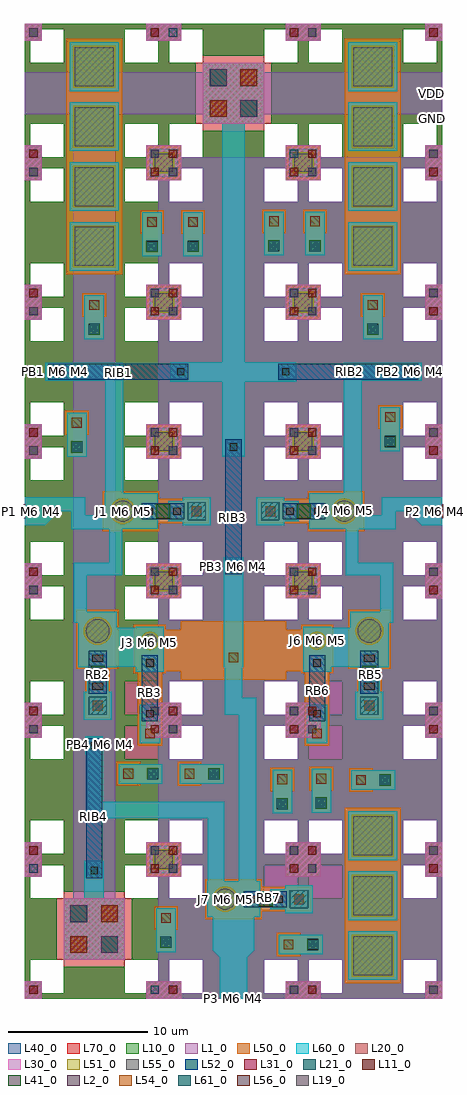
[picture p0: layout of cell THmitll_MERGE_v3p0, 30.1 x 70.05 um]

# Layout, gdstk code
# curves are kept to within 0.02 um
from math import pi, radians
import gdstk
lib = gdstk.Library(unit=1e-6, precision=1e-09)
def R(c, l, rs):  # rectangles x0, y0, x1, y1
    for r in rs: c.add(gdstk.rectangle(r[:2], r[2:], *l))
def A(c, l, x, y, w, h, nx, ny, dx, dy):  # array of equal rectangles
    R(c, l, [(x+i*dx, y+j*dy, x+i*dx+w, y+j*dy+h) for i in range(nx) for j in range(ny)])
def P(c, l, *ps):  # polygons
    for p in ps: c.add(gdstk.Polygon(p, *l))
L1_0 = (1, 0)
L2_0 = (2, 0)
L10_0 = (10, 0)
L11_0 = (11, 0)
L19_0 = (19, 0)
L20_0 = (20, 0)
L21_0 = (21, 0)
L30_0 = (30, 0)
L31_0 = (31, 0)
L40_0 = (40, 0)
L41_0 = (41, 0)
L50_0 = (50, 0)
L51_0 = (51, 0)
L52_0 = (52, 0)
L54_0 = (54, 0)
L55_0 = (55, 0)
L56_0 = (56, 0)
L60_0 = (60, 0)
L61_0 = (61, 0)
L70_0 = (70, 0)

ls_tr_m7_1 = lib.new_cell('ls_tr_M7$1')
P(ls_tr_m7_1, L70_0, [(0,0),(0,10),(1.25,10),(1.25,8.75),(0.4,8.75),(0.4,1.25),(1.25,1.25),(1.25,0.4),(2.8,0.4),(2.8,2.8),(0.4,2.8),(0.4,7.2),(2.8,7.2),(2.8,9.6),(1.25,9.6),(1.25,10),(7.2,10),(7.2,0.4),(8.75,0.4),(8.75,1.25),(9.6,1.25),(9.6,2.8),(7.2,2.8),(7.2,7.2),(9.6,7.2),(9.6,8.75),(8.75,8.75),(8.75,9.6),(7.2,9.6),(7.2,10),(10,10),(10,0)])

ls_tr_u_m4_nptl = lib.new_cell('ls_tr_u_M4_NPTL')
P(ls_tr_u_m4_nptl, L1_0, [(0,0),(0,10),(1.25,10),(1.25,8.75),(0.4,8.75),(0.4,1.25),(1.25,1.25),(1.25,0.4),(2.8,0.4),(2.8,2.8),(0.4,2.8),(0.4,7.2),(2.8,7.2),(2.8,9.6),(1.25,9.6),(1.25,10),(7.2,10),(7.2,0.4),(8.75,0.4),(8.75,1.25),(9.6,1.25),(9.6,2.8),(7.2,2.8),(7.2,7.2),(9.6,7.2),(9.6,8.75),(8.75,8.75),(8.75,9.6),(7.2,9.6),(7.2,10),(10,10),(10,0)])
R(ls_tr_u_m4_nptl, L2_0, [(9.05,0.35,9.65,0.95), (0.35,9.05,0.95,9.65)])
R(ls_tr_u_m4_nptl, L10_0, [(0,0,1.25,1.25), (8.75,0,10,1.25), (0,8.75,1.25,10), (8.75,8.75,10,10)])
P(ls_tr_u_m4_nptl, L10_0, [(1.25,0),(1.25,0.4),(2.8,0.4),(2.8,2.8),(0.4,2.8),(0.4,1.25),(0,1.25),(0,8.75),(0.4,8.75),(0.4,7.2),(2.8,7.2),(2.8,9.6),(1.25,9.6),(1.25,10),(8.75,10),(8.75,9.6),(7.2,9.6),(7.2,7.2),(9.6,7.2),(9.6,8.75),(10,8.75),(10,1.25),(9.6,1.25),(9.6,2.8),(7.2,2.8),(7.2,0.4),(8.75,0.4),(8.75,0)])
R(ls_tr_u_m4_nptl, L11_0, [(0.35,0.35,0.95,0.95), (9.05,9.05,9.65,9.65)])
R(ls_tr_u_m4_nptl, L20_0, [(0,0,1.25,1.25), (8.75,0,10,1.25), (0,8.75,1.25,10), (8.75,8.75,10,10)])
R(ls_tr_u_m4_nptl, L21_0, [(9.05,0.35,9.65,0.95), (0.35,9.05,0.95,9.65)])
R(ls_tr_u_m4_nptl, L30_0, [(0,0,1.25,1.25), (8.75,0,10,1.25), (0,8.75,1.25,10), (8.75,8.75,10,10)])
R(ls_tr_u_m4_nptl, L31_0, [(0.35,0.35,0.95,0.95), (9.05,9.05,9.65,9.65)])
P(ls_tr_u_m4_nptl, L40_0, [(0,0),(0,10),(1.25,10),(1.25,8.75),(0.4,8.75),(0.4,1.25),(1.25,1.25),(1.25,0.4),(2.8,0.4),(2.8,2.8),(0.4,2.8),(0.4,7.2),(2.8,7.2),(2.8,9.6),(1.25,9.6),(1.25,10),(7.2,10),(7.2,0.4),(8.75,0.4),(8.75,1.25),(9.6,1.25),(9.6,2.8),(7.2,2.8),(7.2,7.2),(9.6,7.2),(9.6,8.75),(8.75,8.75),(8.75,9.6),(7.2,9.6),(7.2,10),(10,10),(10,0)])
ls_tr_u_m4_nptl.add(gdstk.Reference(ls_tr_m7_1, (0,0)))

ls_tr_m7 = lib.new_cell('ls_tr_M7')
P(ls_tr_m7, L70_0, [(0,0),(0,10),(1.25,10),(1.25,8.75),(0.4,8.75),(0.4,1.25),(1.25,1.25),(1.25,0.4),(2.8,0.4),(2.8,2.8),(0.4,2.8),(0.4,7.2),(2.8,7.2),(2.8,9.6),(1.25,9.6),(1.25,10),(7.2,10),(7.2,0.4),(8.75,0.4),(8.75,1.25),(9.6,1.25),(9.6,2.8),(7.2,2.8),(7.2,7.2),(9.6,7.2),(9.6,8.75),(8.75,8.75),(8.75,9.6),(7.2,9.6),(7.2,10),(10,10),(10,0)])

ls_tr_u_m4_alt = lib.new_cell('ls_tr_u_M4_alt')
R(ls_tr_u_m4_alt, L1_0, [(0,0,1.25,1.25), (8.75,0,10,1.25), (0,8.75,1.25,10), (8.75,8.75,10,10)])
R(ls_tr_u_m4_alt, L2_0, [(9.05,0.35,9.65,0.95), (0.35,9.05,0.95,9.65)])
R(ls_tr_u_m4_alt, L10_0, [(0,0,1.25,1.25), (1.25,0,8.75,0.4), (8.75,0,10,1.25), (2.8,0.4,7.2,9.6), (0,1.25,0.4,8.75), (9.6,1.25,10,8.75), (0.4,2.8,2.8,7.2), (7.2,2.8,9.6,7.2), (0,8.75,1.25,10), (8.75,8.75,10,10), (1.25,9.6,8.75,10)])
R(ls_tr_u_m4_alt, L11_0, [(0.35,0.35,0.95,0.95), (9.05,9.05,9.65,9.65)])
R(ls_tr_u_m4_alt, L20_0, [(0,0,1.25,1.25), (8.75,0,10,1.25), (0,8.75,1.25,10), (8.75,8.75,10,10)])
R(ls_tr_u_m4_alt, L21_0, [(9.05,0.35,9.65,0.95), (0.35,9.05,0.95,9.65)])
R(ls_tr_u_m4_alt, L30_0, [(0,0,1.25,1.25), (8.75,0,10,1.25), (0,8.75,1.25,10), (8.75,8.75,10,10)])
R(ls_tr_u_m4_alt, L31_0, [(0.35,0.35,0.95,0.95), (9.05,9.05,9.65,9.65)])
P(ls_tr_u_m4_alt, L40_0, [(0,0),(0,10),(1.25,10),(1.25,8.75),(0.4,8.75),(0.4,1.25),(1.25,1.25),(1.25,0.4),(2.8,0.4),(2.8,2.8),(0.4,2.8),(0.4,7.2),(2.8,7.2),(2.8,9.6),(1.25,9.6),(1.25,10),(7.2,10),(7.2,0.4),(8.75,0.4),(8.75,1.25),(9.6,1.25),(9.6,2.8),(7.2,2.8),(7.2,7.2),(9.6,7.2),(9.6,8.75),(8.75,8.75),(8.75,9.6),(7.2,9.6),(7.2,10),(10,10),(10,0)])
ls_tr_u_m4_alt.add(gdstk.Reference(ls_tr_m7, (0,0)))

ls_tr_bias_pillar_m0m6 = lib.new_cell('ls_tr_bias_pillar_M0M6')
R(ls_tr_bias_pillar_m0m6, L1_0, [(0,0,1.25,1.25), (8.75,0,10,1.25), (2.8,2.8,7.2,7.2), (0,8.75,1.25,10), (8.75,8.75,10,10)])
R(ls_tr_bias_pillar_m0m6, L2_0, [(5.5,3.3,6.7,4.5), (3.3,5.5,4.5,6.7)])
R(ls_tr_bias_pillar_m0m6, L10_0, [(0,0,1.25,1.25), (8.75,0,10,1.25), (2.8,2.8,7.2,7.2), (0,8.75,1.25,10), (8.75,8.75,10,10)])
P(ls_tr_bias_pillar_m0m6, L10_0, [(0,0),(0,10),(7.2,10),(7.2,7.7),(2.8,7.7),(2.8,9.6),(1.25,9.6),(1.25,8.75),(0.4,8.75),(0.4,7.2),(2.3,7.2),(2.3,2.8),(0.4,2.8),(0.4,1.25),(1.25,1.25),(1.25,0.4),(2.8,0.4),(2.8,2.3),(7.2,2.3),(7.2,0.4),(8.75,0.4),(8.75,1.25),(9.6,1.25),(9.6,2.8),(7.7,2.8),(7.7,7.2),(9.6,7.2),(9.6,8.75),(8.75,8.75),(8.75,9.6),(7.2,9.6),(7.2,10),(10,10),(10,0)])
R(ls_tr_bias_pillar_m0m6, L11_0, [(0.35,0.35,0.95,0.95), (3.3,3.3,4.5,4.5), (5.5,5.5,6.7,6.7), (9.05,9.05,9.65,9.65)])
R(ls_tr_bias_pillar_m0m6, L20_0, [(0,0,1.25,1.25), (8.75,0,10,1.25), (2.8,2.8,7.2,7.2), (0,8.75,1.25,10), (8.75,8.75,10,10)])
R(ls_tr_bias_pillar_m0m6, L21_0, [(9.05,0.35,9.65,0.95), (5.5,3.3,6.7,4.5), (3.3,5.5,4.5,6.7), (0.35,9.05,0.95,9.65)])
R(ls_tr_bias_pillar_m0m6, L30_0, [(0,0,1.25,1.25), (8.75,0,10,1.25), (2.8,2.8,7.2,7.2), (0,8.75,1.25,10), (8.75,8.75,10,10)])
R(ls_tr_bias_pillar_m0m6, L31_0, [(0.35,0.35,0.95,0.95), (3.3,3.3,4.5,4.5), (5.5,5.5,6.7,6.7), (9.05,9.05,9.65,9.65)])
R(ls_tr_bias_pillar_m0m6, L40_0, [(2.8,2.8,7.2,7.2)])
P(ls_tr_bias_pillar_m0m6, L40_0, [(0,0),(0,10),(7.2,10),(7.2,7.7),(2.8,7.7),(2.8,9.6),(1.25,9.6),(1.25,8.75),(0.4,8.75),(0.4,7.2),(2.3,7.2),(2.3,2.8),(0.4,2.8),(0.4,1.25),(1.25,1.25),(1.25,0.4),(2.8,0.4),(2.8,2.3),(7.2,2.3),(7.2,0.4),(8.75,0.4),(8.75,1.25),(9.6,1.25),(9.6,2.8),(7.7,2.8),(7.7,7.2),(9.6,7.2),(9.6,8.75),(8.75,8.75),(8.75,9.6),(7.2,9.6),(7.2,10),(10,10),(10,0)])
R(ls_tr_bias_pillar_m0m6, L41_0, [(5.5,3.3,6.7,4.5), (3.3,5.5,4.5,6.7)])
R(ls_tr_bias_pillar_m0m6, L50_0, [(2.8,2.8,7.2,7.2)])
R(ls_tr_bias_pillar_m0m6, L54_0, [(3.3,3.3,4.5,4.5), (5.5,5.5,6.7,6.7)])
R(ls_tr_bias_pillar_m0m6, L60_0, [(2.8,2.8,7.2,7.2)])
P(ls_tr_bias_pillar_m0m6, L70_0, [(0,0),(0,10),(1.25,10),(1.25,8.75),(0.4,8.75),(0.4,1.25),(1.25,1.25),(1.25,0.4),(2.8,0.4),(2.8,2.8),(0.4,2.8),(0.4,7.2),(2.8,7.2),(2.8,9.6),(1.25,9.6),(1.25,10),(7.2,10),(7.2,0.4),(8.75,0.4),(8.75,1.25),(9.6,1.25),(9.6,2.8),(7.2,2.8),(7.2,7.2),(9.6,7.2),(9.6,8.75),(8.75,8.75),(8.75,9.6),(7.2,9.6),(7.2,10),(10,10),(10,0)])

ls_conn_m5m6m7 = lib.new_cell('ls_conn_M5M6M7')
R(ls_conn_m5m6m7, L60_0, [(-0.65,-0.65,1.35,1.35)])
R(ls_conn_m5m6m7, L61_0, [(-0.3,-0.3,1,1)])
R(ls_conn_m5m6m7, L70_0, [(-0.65,-0.65,1.35,1.35)])

th_jj_250_sg = lib.new_cell('th_jj_250_sg')
R(th_jj_250_sg, L41_0, [(-0.5,2.4,0.5,3.4)])
R(th_jj_250_sg, L50_0, [(-1.425,-1.425,1.425,2.625), (-0.875,2.625,0.875,6.175)])
P(th_jj_250_sg, L51_0, [(0,-0.91),(-0.18,-0.895),(-0.35,-0.84),(-0.645,-0.645),(-0.84,-0.35),(-0.91,0),(-0.895,0.18),(-0.84,0.35),(-0.645,0.645),(-0.35,0.84),(-0.18,0.895),(0,0.91),(0.18,0.895),(0.35,0.84),(0.645,0.645),(0.84,0.35),(0.895,0.18),(0.91,0),(0.84,-0.35),(0.645,-0.645),(0.35,-0.84),(0.18,-0.895)])
R(th_jj_250_sg, L52_0, [(-0.575,1.35,0.575,4.425)])
R(th_jj_250_sg, L54_0, [(-0.35,4.95,0.35,5.65)])
P(th_jj_250_sg, L55_0, [(0,-0.76),(-0.15,-0.75),(-0.29,-0.7),(-0.54,-0.54),(-0.7,-0.29),(-0.75,-0.15),(-0.76,0),(-0.75,0.15),(-0.7,0.29),(-0.54,0.54),(-0.29,0.7),(-0.15,0.75),(0,0.76),(0.15,0.75),(0.29,0.7),(0.54,0.54),(0.7,0.29),(0.75,0.15),(0.76,0),(0.75,-0.15),(0.7,-0.29),(0.54,-0.54),(0.29,-0.7),(0.15,-0.75)])
R(th_jj_250_sg, L56_0, [(-0.26,1.64,0.26,2.16), (-0.26,3.63,0.26,4.15)])
R(th_jj_250_sg, L60_0, [(-1.275,-1.275,1.275,2.525), (-0.725,3.25,0.725,6.025)])
th_jj_250_sg.add(gdstk.Reference(ls_conn_m5m6m7, (0.35,5.65), rotation=pi))

th_jj_301_sg = lib.new_cell('th_jj_301_sg')
R(th_jj_301_sg, L41_0, [(-0.5,2.5,0.5,3.5)])
R(th_jj_301_sg, L50_0, [(-1.525,-1.525,1.525,2.7), (-0.875,2.7,0.875,6.25)])
P(th_jj_301_sg, L51_0, [(0,-0.995),(-0.38,-0.92),(-0.705,-0.705),(-0.92,-0.38),(-0.98,-0.195),(-0.995,0),(-0.98,0.195),(-0.92,0.385),(-0.83,0.555),(-0.705,0.705),(-0.38,0.925),(0,1),(0.38,0.925),(0.705,0.705),(0.83,0.555),(0.92,0.385),(0.98,0.195),(0.995,0),(0.98,-0.195),(0.92,-0.38),(0.705,-0.705),(0.38,-0.92)])
R(th_jj_301_sg, L52_0, [(-0.65,1.425,0.65,4.5)])
R(th_jj_301_sg, L54_0, [(-0.35,5.025,0.35,5.725)])
P(th_jj_301_sg, L55_0, [(0,-0.85),(-0.32,-0.79),(-0.6,-0.6),(-0.78,-0.33),(-0.85,0),(-0.78,0.32),(-0.6,0.61),(-0.32,0.78),(-0.17,0.83),(0,0.84),(0.17,0.83),(0.32,0.78),(0.6,0.61),(0.78,0.32),(0.85,0),(0.78,-0.33),(0.6,-0.6),(0.32,-0.79)])
R(th_jj_301_sg, L56_0, [(-0.39,1.7,0.39,2.22), (-0.39,3.7,0.39,4.22)])
R(th_jj_301_sg, L60_0, [(-1.375,-1.375,1.375,2.6), (-0.75,3.325,0.75,6.1)])
th_jj_301_sg.add(gdstk.Reference(ls_conn_m5m6m7, (0.35,5.725), rotation=pi))

th_ib_175 = lib.new_cell('th_ib_175')
R(th_ib_175, L52_0, [(-0.575,0,0.575,10.05)])
R(th_ib_175, L56_0, [(-0.26,0.29,0.26,0.81), (-0.26,9.26,0.26,9.78)])
R(th_ib_175, L60_0, [(-0.625,-0.1,0.625,1.175), (-0.625,8.9,0.625,10.15)])

th_jj_118_s = lib.new_cell('th_jj_118_s')
R(th_jj_118_s, L50_0, [(-1.15,-1.15,1.15,2.325), (-0.875,2.325,0.875,7.525)])
P(th_jj_118_s, L51_0, [(-0.055,-0.635),(-0.055,-0.63),(-0.095,-0.63),(-0.095,-0.625),(-0.125,-0.625),(-0.125,-0.62),(-0.15,-0.62),(-0.15,-0.615),(-0.165,-0.615),(-0.165,-0.61),(-0.185,-0.61),(-0.185,-0.605),(-0.2,-0.605),(-0.2,-0.6),(-0.215,-0.6),(-0.215,-0.595),(-0.225,-0.595),(-0.225,-0.59),(-0.24,-0.59),(-0.24,-0.585),(-0.25,-0.585),(-0.25,-0.58),(-0.265,-0.58),(-0.265,-0.575),(-0.275,-0.575),(-0.275,-0.57),(-0.285,-0.57),(-0.285,-0.565),(-0.295,-0.565),(-0.295,-0.56),(-0.305,-0.56),(-0.305,-0.555),(-0.31,-0.555),(-0.31,-0.55),(-0.32,-0.55),(-0.32,-0.545),(-0.33,-0.545),(-0.33,-0.54),(-0.34,-0.54),(-0.34,-0.535),(-0.345,-0.535),(-0.345,-0.53),(-0.355,-0.53),(-0.355,-0.525),(-0.36,-0.525),(-0.36,-0.52),(-0.365,-0.52),(-0.365,-0.515),(-0.375,-0.515),(-0.375,-0.51),(-0.38,-0.51),(-0.38,-0.505),(-0.385,-0.505),(-0.385,-0.5),(-0.395,-0.5),(-0.395,-0.495),(-0.4,-0.495),(-0.4,-0.49),(-0.405,-0.49),(-0.405,-0.485),(-0.41,-0.485),(-0.41,-0.48),(-0.415,-0.48),(-0.415,-0.475),(-0.42,-0.475),(-0.42,-0.47),(-0.425,-0.47),(-0.425,-0.465),(-0.43,-0.465),(-0.43,-0.46),(-0.435,-0.46),(-0.435,-0.455),(-0.44,-0.455),(-0.44,-0.45),(-0.445,-0.45),(-0.445,-0.445),(-0.45,-0.445),(-0.45,-0.44),(-0.455,-0.44),(-0.455,-0.435),(-0.46,-0.435),(-0.46,-0.43),(-0.465,-0.43),(-0.465,-0.425),(-0.47,-0.425),(-0.47,-0.42),(-0.475,-0.42),(-0.475,-0.415),(-0.48,-0.415),(-0.48,-0.41),(-0.485,-0.41),(-0.485,-0.405),(-0.495,-0.405),(-0.495,-0.39),(-0.5,-0.39),(-0.5,-0.385),(-0.51,-0.385),(-0.51,-0.37),(-0.515,-0.37),(-0.515,-0.365),(-0.525,-0.365),(-0.525,-0.35),(-0.535,-0.35),(-0.535,-0.34),(-0.54,-0.34),(-0.54,-0.325),(-0.55,-0.325),(-0.55,-0.315),(-0.555,-0.315),(-0.555,-0.305),(-0.56,-0.305),(-0.56,-0.295),(-0.565,-0.295),(-0.565,-0.285),(-0.57,-0.285),(-0.57,-0.275),(-0.575,-0.275),(-0.575,-0.265),(-0.58,-0.265),(-0.58,-0.255),(-0.585,-0.255),(-0.585,-0.24),(-0.59,-0.24),(-0.59,-0.23),(-0.595,-0.23),(-0.595,-0.215),(-0.6,-0.215),(-0.6,-0.2),(-0.605,-0.2),(-0.605,-0.185),(-0.61,-0.185),(-0.61,-0.17),(-0.615,-0.17),(-0.615,-0.15),(-0.62,-0.15),(-0.62,-0.13),(-0.625,-0.13),(-0.625,-0.1),(-0.63,-0.1),(-0.63,-0.06),(-0.635,-0.06),(-0.635,0.06),(-0.63,0.06),(-0.63,0.1),(-0.625,0.1),(-0.625,0.125),(-0.62,0.125),(-0.62,0.15),(-0.615,0.15),(-0.615,0.165),(-0.61,0.165),(-0.61,0.185),(-0.605,0.185),(-0.605,0.2),(-0.6,0.2),(-0.6,0.215),(-0.595,0.215),(-0.595,0.23),(-0.59,0.23),(-0.59,0.24),(-0.585,0.24),(-0.585,0.25),(-0.58,0.25),(-0.58,0.265),(-0.575,0.265),(-0.575,0.275),(-0.57,0.275),(-0.57,0.285),(-0.565,0.285),(-0.565,0.295),(-0.56,0.295),(-0.56,0.31),(-0.55,0.31),(-0.55,0.32),(-0.545,0.32),(-0.545,0.33),(-0.54,0.33),(-0.54,0.345),(-0.53,0.345),(-0.53,0.36),(-0.525,0.36),(-0.525,0.365),(-0.515,0.365),(-0.515,0.38),(-0.51,0.38),(-0.51,0.385),(-0.5,0.385),(-0.5,0.4),(-0.495,0.4),(-0.495,0.405),(-0.485,0.405),(-0.485,0.42),(-0.48,0.42),(-0.48,0.425),(-0.475,0.425),(-0.475,0.43),(-0.47,0.43),(-0.47,0.435),(-0.465,0.435),(-0.465,0.44),(-0.46,0.44),(-0.46,0.445),(-0.455,0.445),(-0.455,0.45),(-0.45,0.45),(-0.45,0.455),(-0.44,0.455),(-0.44,0.46),(-0.435,0.46),(-0.435,0.465),(-0.43,0.465),(-0.43,0.47),(-0.425,0.47),(-0.425,0.475),(-0.42,0.475),(-0.42,0.48),(-0.415,0.48),(-0.415,0.485),(-0.41,0.485),(-0.41,0.49),(-0.405,0.49),(-0.405,0.495),(-0.395,0.495),(-0.395,0.5),(-0.39,0.5),(-0.39,0.505),(-0.385,0.505),(-0.385,0.51),(-0.375,0.51),(-0.375,0.515),(-0.37,0.515),(-0.37,0.52),(-0.365,0.52),(-0.365,0.525),(-0.355,0.525),(-0.355,0.53),(-0.35,0.53),(-0.35,0.535),(-0.34,0.535),(-0.34,0.54),(-0.33,0.54),(-0.33,0.545),(-0.325,0.545),(-0.325,0.55),(-0.315,0.55),(-0.315,0.555),(-0.305,0.555),(-0.305,0.56),(-0.295,0.56),(-0.295,0.565),(-0.29,0.565),(-0.29,0.57),(-0.275,0.57),(-0.275,0.575),(-0.265,0.575),(-0.265,0.58),(-0.255,0.58),(-0.255,0.585),(-0.245,0.585),(-0.245,0.59),(-0.23,0.59),(-0.23,0.595),(-0.215,0.595),(-0.215,0.6),(-0.205,0.6),(-0.205,0.605),(-0.19,0.605),(-0.19,0.61),(-0.17,0.61),(-0.17,0.615),(-0.155,0.615),(-0.155,0.62),(-0.13,0.62),(-0.13,0.625),(-0.1,0.625),(-0.1,0.63),(-0.065,0.63),(-0.065,0.635),(0.06,0.635),(0.06,0.63),(0.1,0.63),(0.1,0.625),(0.125,0.625),(0.125,0.62),(0.15,0.62),(0.15,0.615),(0.17,0.615),(0.17,0.61),(0.185,0.61),(0.185,0.605),(0.2,0.605),(0.2,0.6),(0.215,0.6),(0.215,0.595),(0.23,0.595),(0.23,0.59),(0.24,0.59),(0.24,0.585),(0.255,0.585),(0.255,0.58),(0.265,0.58),(0.265,0.575),(0.275,0.575),(0.275,0.57),(0.285,0.57),(0.285,0.565),(0.295,0.565),(0.295,0.56),(0.305,0.56),(0.305,0.555),(0.315,0.555),(0.315,0.55),(0.325,0.55),(0.325,0.545),(0.33,0.545),(0.33,0.54),(0.335,0.54),(0.335,0.535),(0.345,0.535),(0.345,0.53),(0.355,0.53),(0.355,0.525),(0.36,0.525),(0.36,0.52),(0.37,0.52),(0.37,0.515),(0.375,0.515),(0.375,0.51),(0.38,0.51),(0.38,0.505),(0.39,0.505),(0.39,0.5),(0.395,0.5),(0.395,0.495),(0.4,0.495),(0.4,0.49),(0.405,0.49),(0.405,0.485),(0.41,0.485),(0.41,0.48),(0.42,0.48),(0.42,0.475),(0.425,0.475),(0.425,0.47),(0.43,0.47),(0.43,0.465),(0.435,0.465),(0.435,0.46),(0.44,0.46),(0.44,0.455),(0.445,0.455),(0.445,0.45),(0.45,0.45),(0.45,0.445),(0.46,0.445),(0.46,0.43),(0.465,0.43),(0.465,0.425),(0.47,0.425),(0.47,0.42),(0.475,0.42),(0.475,0.415),(0.48,0.415),(0.48,0.41),(0.49,0.41),(0.49,0.395),(0.495,0.395),(0.495,0.39),(0.5,0.39),(0.5,0.385),(0.51,0.385),(0.51,0.37),(0.52,0.37),(0.52,0.355),(0.53,0.355),(0.53,0.34),(0.535,0.34),(0.535,0.335),(0.545,0.335),(0.545,0.325),(0.55,0.325),(0.55,0.315),(0.555,0.315),(0.555,0.305),(0.56,0.305),(0.56,0.295),(0.565,0.295),(0.565,0.28),(0.575,0.28),(0.575,0.265),(0.58,0.265),(0.58,0.255),(0.585,0.255),(0.585,0.245),(0.59,0.245),(0.59,0.23),(0.595,0.23),(0.595,0.22),(0.6,0.22),(0.6,0.205),(0.605,0.205),(0.605,0.185),(0.61,0.185),(0.61,0.17),(0.615,0.17),(0.615,0.15),(0.62,0.15),(0.62,0.13),(0.625,0.13),(0.625,0.1),(0.63,0.1),(0.63,0.06),(0.635,0.06),(0.635,-0.06),(0.63,-0.06),(0.63,-0.095),(0.625,-0.095),(0.625,-0.125),(0.62,-0.125),(0.62,-0.15),(0.615,-0.15),(0.615,-0.17),(0.61,-0.17),(0.61,-0.185),(0.605,-0.185),(0.605,-0.2),(0.6,-0.2),(0.6,-0.215),(0.595,-0.215),(0.595,-0.225),(0.59,-0.225),(0.59,-0.24),(0.585,-0.24),(0.585,-0.255),(0.58,-0.255),(0.58,-0.265),(0.575,-0.265),(0.575,-0.275),(0.57,-0.275),(0.57,-0.285),(0.565,-0.285),(0.565,-0.3),(0.555,-0.3),(0.555,-0.32),(0.545,-0.32),(0.545,-0.335),(0.535,-0.335),(0.535,-0.345),(0.53,-0.345),(0.53,-0.36),(0.52,-0.36),(0.52,-0.375),(0.515,-0.375),(0.515,-0.38),(0.505,-0.38),(0.505,-0.395),(0.5,-0.395),(0.5,-0.4),(0.495,-0.4),(0.495,-0.405),(0.49,-0.405),(0.49,-0.41),(0.485,-0.41),(0.485,-0.415),(0.48,-0.415),(0.48,-0.42),(0.475,-0.42),(0.475,-0.425),(0.47,-0.425),(0.47,-0.43),(0.465,-0.43),(0.465,-0.435),(0.46,-0.435),(0.46,-0.44),(0.455,-0.44),(0.455,-0.445),(0.45,-0.445),(0.45,-0.45),(0.445,-0.45),(0.445,-0.455),(0.44,-0.455),(0.44,-0.46),(0.435,-0.46),(0.435,-0.465),(0.43,-0.465),(0.43,-0.47),(0.425,-0.47),(0.425,-0.475),(0.42,-0.475),(0.42,-0.48),(0.415,-0.48),(0.415,-0.485),(0.41,-0.485),(0.41,-0.49),(0.4,-0.49),(0.4,-0.495),(0.395,-0.495),(0.395,-0.5),(0.39,-0.5),(0.39,-0.505),(0.38,-0.505),(0.38,-0.51),(0.375,-0.51),(0.375,-0.515),(0.37,-0.515),(0.37,-0.52),(0.36,-0.52),(0.36,-0.525),(0.355,-0.525),(0.355,-0.53),(0.345,-0.53),(0.345,-0.535),(0.34,-0.535),(0.34,-0.54),(0.33,-0.54),(0.33,-0.545),(0.32,-0.545),(0.32,-0.55),(0.315,-0.55),(0.315,-0.555),(0.305,-0.555),(0.305,-0.56),(0.295,-0.56),(0.295,-0.565),(0.285,-0.565),(0.285,-0.57),(0.275,-0.57),(0.275,-0.575),(0.265,-0.575),(0.265,-0.58),(0.255,-0.58),(0.255,-0.585),(0.24,-0.585),(0.24,-0.59),(0.23,-0.59),(0.23,-0.595),(0.215,-0.595),(0.215,-0.6),(0.2,-0.6),(0.2,-0.605),(0.185,-0.605),(0.185,-0.61),(0.17,-0.61),(0.17,-0.615),(0.15,-0.615),(0.15,-0.62),(0.125,-0.62),(0.125,-0.625),(0.1,-0.625),(0.1,-0.63),(0.055,-0.63),(0.055,-0.635)])
R(th_jj_118_s, L52_0, [(-0.575,1.05,0.575,5.775)])
R(th_jj_118_s, L54_0, [(-0.35,6.3,0.35,7)])
P(th_jj_118_s, L55_0, [(0,-0.49),(-0.19,-0.45),(-0.34,-0.35),(-0.45,-0.19),(-0.49,-0.01),(-0.45,0.18),(-0.34,0.34),(-0.19,0.44),(0,0.48),(0.19,0.44),(0.34,0.34),(0.45,0.18),(0.49,-0.01),(0.45,-0.19),(0.34,-0.35),(0.19,-0.45)])
R(th_jj_118_s, L56_0, [(-0.26,1.34,0.26,1.86), (-0.26,4.98,0.26,5.5)])
R(th_jj_118_s, L60_0, [(-1,-1,1,2.225), (-0.725,4.6,0.725,7.375)])

th_ib_183 = lib.new_cell('th_ib_183')
R(th_ib_183, L52_0, [(-0.575,0,0.575,9.675)])
R(th_ib_183, L56_0, [(-0.26,0.29,0.26,0.81), (-0.26,8.89,0.26,9.41)])
R(th_ib_183, L60_0, [(-0.625,-0.1,0.625,1.175), (-0.625,8.525,0.625,9.775)])

ls_fakejj_3umx3um = lib.new_cell('ls_FakeJJ_3umx3um')
R(ls_fakejj_3umx3um, L40_0, [(-2,-2,2,2)])
R(ls_fakejj_3umx3um, L50_0, [(-2,-2,2,2)])
R(ls_fakejj_3umx3um, L51_0, [(-1.5,-1.5,1.5,1.5)])
R(ls_fakejj_3umx3um, L55_0, [(-1.4,-1.4,1.4,1.4)])
R(ls_fakejj_3umx3um, L60_0, [(-1.75,-1.75,1.75,1.75)])

ls_conn_m4m5m6m7 = lib.new_cell('ls_conn_M4M5M6M7')
R(ls_conn_m4m5m6m7, L40_0, [(0,0,1.4,1.4)])
R(ls_conn_m4m5m6m7, L41_0, [(0.3,0.3,1.1,1.1)])
P(ls_conn_m4m5m6m7, L50_0, [(1.6,-0.15),(1.6,0),(0,0),(0,1.4),(1.6,1.4),(1.6,1.55),(3.3,1.55),(3.3,-0.15)])
R(ls_conn_m4m5m6m7, L54_0, [(2.1,0.35,2.8,1.05)])
R(ls_conn_m4m5m6m7, L60_0, [(0,0,3.15,1.4)])
R(ls_conn_m4m5m6m7, L61_0, [(0.35,0.35,1.05,1.05)])
R(ls_conn_m4m5m6m7, L70_0, [(0,0,1.4,1.4)])

ls_fakejj_1p5x1p5um = lib.new_cell('ls_FakeJJ_1p5x1p5um')
R(ls_fakejj_1p5x1p5um, L40_0, [(-1.25,-1.25,1.25,1.25)])
R(ls_fakejj_1p5x1p5um, L50_0, [(-1.25,-1.25,1.25,1.25)])
R(ls_fakejj_1p5x1p5um, L51_0, [(-0.75,-0.75,0.75,0.75)])
R(ls_fakejj_1p5x1p5um, L55_0, [(-0.65,-0.65,0.65,0.65)])
R(ls_fakejj_1p5x1p5um, L60_0, [(-1,-1,1,1)])

ls_conn_m5m6 = lib.new_cell('ls_conn_M5M6')
R(ls_conn_m5m6, L50_0, [(0,0,1.7,1.7)])
R(ls_conn_m5m6, L54_0, [(0.5,0.5,1.2,1.2)])
R(ls_conn_m5m6, L60_0, [(0.15,0.15,1.55,1.55)])

thmitll_merge_v3p0 = lib.new_cell('THmitll_MERGE_v3p0')
A(thmitll_merge_v3p0, L1_0, 9.6, 1.25, 0.4, 7.5, 1, 6, 0, 10)
R(thmitll_merge_v3p0, L1_0, [(11.25,60,18.75,60.4), (21.25,60,28.75,60.4)])
P(thmitll_merge_v3p0, L1_0, [(17.2,7.2),(17.2,9.6),(18.75,9.6),(18.75,8.75),(19.6,8.75),(19.6,7.2)],
  [(20.4,7.2),(20.4,8.75),(21.25,8.75),(21.25,9.6),(22.8,9.6),(22.8,7.2)],
  [(21.25,20.4),(21.25,21.25),(20.4,21.25),(20.4,22.8),(22.8,22.8),(22.8,20.4)],
  [(20.4,17.2),(20.4,18.75),(21.25,18.75),(21.25,19.6),(22.8,19.6),(22.8,17.2)])
R(thmitll_merge_v3p0, L19_0, [(5.2,17.95,5.7,18.45), (14.7,30.7,15.3,31.25), (27.4,44.7,28,45.3), (2,44.75,2.55,45.3)])
P(thmitll_merge_v3p0, L40_0, [(17.2,7.2),(17.2,9.6),(18.75,9.6),(18.75,8.75),(19.6,8.75),(19.6,7.2)],
  [(20.4,7.2),(20.4,8.75),(21.25,8.75),(21.25,9.6),(22.8,9.6),(22.8,7.2)],
  [(7.2,20.4),(7.2,22.8),(9.6,22.8),(9.6,21.25),(8.75,21.25),(8.75,20.4)],
  [(20.4,17.2),(20.4,18.75),(21.25,18.75),(21.25,19.6),(22.8,19.6),(22.8,17.2)],
  [(21.25,20.4),(21.25,21.25),(20.4,21.25),(20.4,22.8),(22.8,22.8),(22.8,20.4)],
  [(7.2,17.2),(7.2,19.6),(8.75,19.6),(8.75,18.75),(9.6,18.75),(9.6,17.2)])
R(thmitll_merge_v3p0, L50_0, [(23,1.1,27,13.7), (3,52,7,68.9), (23,52,27,68.9)])
P(thmitll_merge_v3p0, L60_0, [(1.5,34),(1.5,35),(2.5,35)],
  [(28.5,34),(27.5,35),(28.5,35)],
  [(14,3),(13.5,3.5),(14,3.5)],
  [(16,3),(16,3.5),(16.5,3.5)])
P(thmitll_merge_v3p0, L70_0, [(17.2,7.2),(17.2,9.6),(18.75,9.6),(18.75,8.75),(19.6,8.75),(19.6,7.2)],
  [(20.4,7.2),(20.4,8.75),(21.25,8.75),(21.25,9.6),(22.8,9.6),(22.8,7.2)],
  [(7.2,20.4),(7.2,22.8),(9.6,22.8),(9.6,21.25),(8.75,21.25),(8.75,20.4)],
  [(20.4,17.2),(20.4,18.75),(21.25,18.75),(21.25,19.6),(22.8,19.6),(22.8,17.2)],
  [(21.25,20.4),(21.25,21.25),(20.4,21.25),(20.4,22.8),(22.8,22.8),(22.8,20.4)],
  [(7.2,17.2),(7.2,19.6),(8.75,19.6),(8.75,18.75),(9.6,18.75),(9.6,17.2)])
thmitll_merge_v3p0.add(gdstk.FlexPath([(15,62.95),(15,38.9)], 1.6, ends="flush", simple_path=True, layer=60, datatype=0))  # L60_0
thmitll_merge_v3p0.add(gdstk.FlexPath([(0,35),(1.5,35)], 2, ends="flush", simple_path=True, layer=60, datatype=0))  # L60_0
thmitll_merge_v3p0.add(gdstk.FlexPath([(28.5,45),(23.55,45),(23.55,36.2)], 1.3, ends="flush", simple_path=True, layer=60, datatype=0))  # L60_0
thmitll_merge_v3p0.add(gdstk.FlexPath([(1.5,45),(6.45,45),(6.45,36.2)], 1.3, ends="flush", simple_path=True, layer=60, datatype=0))  # L60_0
thmitll_merge_v3p0.add(gdstk.FlexPath([(6.55,33.8),(6.55,30.85),(4,30.85),(4,27)], 0.9, ends="flush", simple_path=True, layer=60, datatype=0))  # L60_0
thmitll_merge_v3p0.add(gdstk.FlexPath([(1.5,35.5),(3.85,35.5),(3.85,34.2),(6.2,34.2)], 1, ends="flush", simple_path=True, layer=60, datatype=0))  # L60_0
thmitll_merge_v3p0.add(gdstk.FlexPath([(15,0),(15,3.5)], 2, ends="flush", simple_path=True, layer=60, datatype=0))  # L60_0
thmitll_merge_v3p0.add(gdstk.FlexPath([(28.5,35.5),(26.15,35.5),(26.15,34.2),(23.8,34.2)], 1, ends="flush", simple_path=True, layer=60, datatype=0))  # L60_0
thmitll_merge_v3p0.add(gdstk.FlexPath([(28.5,35),(30,35)], 2, ends="flush", simple_path=True, layer=60, datatype=0))  # L60_0
thmitll_merge_v3p0.add(gdstk.FlexPath([(5,18.85),(5,13.55),(13.75,13.55),(13.75,8)], 1.2, ends="flush", simple_path=True, layer=60, datatype=0))  # L60_0
thmitll_merge_v3p0.add(gdstk.FlexPath([(15,6.6),(15,3.5)], 3, ends="flush", simple_path=True, layer=60, datatype=0))  # L60_0
thmitll_merge_v3p0.add(gdstk.FlexPath([(23.5,33.8),(23.5,30.85),(26,30.85),(26,27)], 0.9, ends="flush", simple_path=True, layer=60, datatype=0))  # L60_0
thmitll_merge_v3p0.add(gdstk.FlexPath([(16,8),(16,21),(15,21),(15,25)], 1.25, ends="flush", simple_path=True, layer=60, datatype=0))  # L60_0
thmitll_merge_v3p0.add(gdstk.FlexPath([(21.9,25.225),(23.5,25.225)], 2.8, ends="flush", simple_path=True, layer=60, datatype=0))  # L60_0
thmitll_merge_v3p0.add(gdstk.FlexPath([(6.5,25.225),(8.1,25.225)], 2.8, ends="flush", simple_path=True, layer=60, datatype=0))  # L60_0
thmitll_merge_v3p0.add(gdstk.FlexPath([(5,9.9),(5,6.95)], 1.4, ends="flush", simple_path=True, layer=60, datatype=0))  # L60_0
thmitll_merge_v3p0.add(gdstk.FlexPath([(10.45,45),(19.5,45)], 1.4, ends="flush", simple_path=True, layer=60, datatype=0))  # L60_0
thmitll_merge_v3p0.add(gdstk.FlexPath([(15,31.7),(15,25)], 1.4, ends="flush", simple_path=True, layer=60, datatype=0))  # L60_0
thmitll_merge_v3p0.add(gdstk.FlexPath([(11.2,25),(18.8,25)], 4.2, ends="flush", simple_path=True, layer=50, datatype=0))  # L50_0
thmitll_merge_v3p0.add(gdstk.FlexPath([(8.65,25),(15,25)], 3, ends="flush", simple_path=True, layer=50, datatype=0))  # L50_0
thmitll_merge_v3p0.add(gdstk.FlexPath([(15,25),(21.35,25)], 3, ends="flush", simple_path=True, layer=50, datatype=0))  # L50_0
thmitll_merge_v3p0.add(gdstk.FlexPath([(0,65),(30,65)], 3, ends="flush", simple_path=True, layer=1, datatype=0))  # L1_0
thmitll_merge_v3p0.add(gdstk.FlexPath([(5,65),(5,5)], 3, ends="flush", simple_path=True, layer=1, datatype=0))  # L1_0
thmitll_merge_v3p0.add(gdstk.FlexPath([(0,35.5),(0,34.5)], 0.1, ends="flush", simple_path=True, layer=19, datatype=0))  # L19_0
thmitll_merge_v3p0.add(gdstk.FlexPath([(30,35.5),(30,34.5)], 0.1, ends="flush", simple_path=True, layer=19, datatype=0))  # L19_0
thmitll_merge_v3p0.add(gdstk.FlexPath([(14.5,0),(15.5,0)], 0.1, ends="flush", simple_path=True, layer=19, datatype=0))  # L19_0
r = gdstk.Reference(ls_tr_u_m4_nptl, (20,0)); r.repetition = gdstk.Repetition(1, 6, v1=(0,0), v2=(0,10)); thmitll_merge_v3p0.add(r)
r = gdstk.Reference(ls_tr_u_m4_nptl, (10,0)); r.repetition = gdstk.Repetition(1, 6, v1=(0,0), v2=(0,10)); thmitll_merge_v3p0.add(r)
r = gdstk.Reference(ls_tr_u_m4_alt, (0,10)); r.repetition = gdstk.Repetition(1, 6, v1=(0,0), v2=(0,10)); thmitll_merge_v3p0.add(r)
r = gdstk.Reference(ls_tr_u_m4_alt, (20,60)); r.repetition = gdstk.Repetition(1, 1, v1=(0,0), v2=(0,0)); thmitll_merge_v3p0.add(r)
r = gdstk.Reference(ls_tr_bias_pillar_m0m6, (0,0)); r.repetition = gdstk.Repetition(1, 1, v1=(0,0), v2=(0,0)); thmitll_merge_v3p0.add(r)
r = gdstk.Reference(ls_tr_bias_pillar_m0m6, (10,60)); r.repetition = gdstk.Repetition(1, 1, v1=(0,0), v2=(0,0)); thmitll_merge_v3p0.add(r)
thmitll_merge_v3p0.add(gdstk.Reference(th_jj_250_sg, (7.05,35), rotation=3*pi/2))
thmitll_merge_v3p0.add(gdstk.Reference(th_jj_301_sg, (24.75,26.4), rotation=pi))
thmitll_merge_v3p0.add(gdstk.Reference(th_ib_175, (5,8.65)))
thmitll_merge_v3p0.add(gdstk.Reference(th_jj_250_sg, (14.4,7.15), rotation=3*pi/2))
thmitll_merge_v3p0.add(gdstk.Reference(th_jj_118_s, (21,25.7), rotation=pi))
thmitll_merge_v3p0.add(gdstk.Reference(th_ib_175, (1.7,45), rotation=3*pi/2))
thmitll_merge_v3p0.add(gdstk.Reference(th_ib_175, (18.2,45), rotation=3*pi/2))
thmitll_merge_v3p0.add(gdstk.Reference(th_ib_183, (15,40.15), rotation=pi))
r = gdstk.Reference(ls_fakejj_3umx3um, (5,54)); r.repetition = gdstk.Repetition(1, 4, v1=(0,0), v2=(0,4.3)); thmitll_merge_v3p0.add(r)
r = gdstk.Reference(ls_fakejj_3umx3um, (25,54)); r.repetition = gdstk.Repetition(1, 4, v1=(0,0), v2=(0,4.3)); thmitll_merge_v3p0.add(r)
thmitll_merge_v3p0.add(gdstk.Reference(ls_conn_m4m5m6m7, (12.8,53.3), rotation=pi/2))
thmitll_merge_v3p0.add(gdstk.Reference(ls_conn_m4m5m6m7, (9.85,53.3), rotation=pi/2))
thmitll_merge_v3p0.add(gdstk.Reference(ls_conn_m4m5m6m7, (18.6,53.35), rotation=pi/2))
thmitll_merge_v3p0.add(gdstk.Reference(ls_conn_m4m5m6m7, (21.55,53.35), rotation=pi/2))
thmitll_merge_v3p0.add(gdstk.Reference(ls_conn_m4m5m6m7, (5.7,47.35), rotation=pi/2))
thmitll_merge_v3p0.add(gdstk.Reference(ls_conn_m4m5m6m7, (25.7,47.35), rotation=pi/2))
thmitll_merge_v3p0.add(gdstk.Reference(ls_conn_m4m5m6m7, (26.95,39.3), rotation=pi/2))
thmitll_merge_v3p0.add(gdstk.Reference(ls_conn_m4m5m6m7, (4.45,38.9), rotation=pi/2))
thmitll_merge_v3p0.add(gdstk.Reference(ls_conn_m4m5m6m7, (10.85,3.35), rotation=pi/2))
r = gdstk.Reference(ls_fakejj_3umx3um, (25,3.1), rotation=pi/2); r.repetition = gdstk.Repetition(3, 1, v1=(0,4.3), v2=(0,0)); thmitll_merge_v3p0.add(r)
thmitll_merge_v3p0.add(gdstk.Reference(ls_conn_m4m5m6m7, (21.4,4.6), rotation=pi))
thmitll_merge_v3p0.add(gdstk.Reference(ls_conn_m4m5m6m7, (26.6,16.4), rotation=pi))
thmitll_merge_v3p0.add(gdstk.Reference(ls_fakejj_1p5x1p5um, (10,10), rotation=pi))
thmitll_merge_v3p0.add(gdstk.Reference(ls_fakejj_1p5x1p5um, (20,30), rotation=pi))
thmitll_merge_v3p0.add(gdstk.Reference(ls_fakejj_1p5x1p5um, (10,30), rotation=pi))
thmitll_merge_v3p0.add(gdstk.Reference(ls_fakejj_1p5x1p5um, (10,40), rotation=pi))
thmitll_merge_v3p0.add(gdstk.Reference(ls_fakejj_1p5x1p5um, (20,40), rotation=pi))
thmitll_merge_v3p0.add(gdstk.Reference(ls_fakejj_1p5x1p5um, (10,50), rotation=pi))
thmitll_merge_v3p0.add(gdstk.Reference(ls_fakejj_1p5x1p5um, (20,50), rotation=pi))
thmitll_merge_v3p0.add(gdstk.Reference(ls_fakejj_1p5x1p5um, (20,60), rotation=pi))
thmitll_merge_v3p0.add(gdstk.Reference(ls_fakejj_1p5x1p5um, (10,60), rotation=pi))
thmitll_merge_v3p0.add(gdstk.Reference(ls_conn_m5m6, (15.85,25.35), rotation=pi))
thmitll_merge_v3p0.add(gdstk.Reference(th_jj_118_s, (9,25.7), rotation=pi))
thmitll_merge_v3p0.add(gdstk.Reference(th_jj_301_sg, (5.25,26.4), rotation=pi))
thmitll_merge_v3p0.add(gdstk.Reference(th_jj_250_sg, (22.95,35), rotation=pi/2))
thmitll_merge_v3p0.add(gdstk.Reference(ls_conn_m4m5m6m7, (9.9,16.85), rotation=pi))
thmitll_merge_v3p0.add(gdstk.Reference(ls_conn_m4m5m6m7, (22,13.35), rotation=pi/2))
thmitll_merge_v3p0.add(gdstk.Reference(ls_conn_m4m5m6m7, (19.2,13.3), rotation=pi/2))
thmitll_merge_v3p0.add(gdstk.Reference(ls_conn_m4m5m6m7, (14.3,16.85), rotation=pi))
thmitll_merge_v3p0.add(gdstk.Label('GND', (29.25,63.15), layer=40, texttype=0))
thmitll_merge_v3p0.add(gdstk.Label('VDD', (29.2,65), layer=1, texttype=0))
thmitll_merge_v3p0.add(gdstk.Label('J1 M6 M5', (7.1,35), layer=182, texttype=0))
thmitll_merge_v3p0.add(gdstk.Label('J4 M6 M5', (23.05,35.05), layer=182, texttype=0))
thmitll_merge_v3p0.add(gdstk.Label('J7 M6 M5', (14.4,7.15), layer=182, texttype=0))
thmitll_merge_v3p0.add(gdstk.Label('J6 M6 M5', (21.05,25.7), layer=182, texttype=0))
thmitll_merge_v3p0.add(gdstk.Label('J5 M6 M5', (24.8,26.35), layer=182, texttype=0))
thmitll_merge_v3p0.add(gdstk.Label('J3 M6 M5', (9,25.6), layer=182, texttype=0))
thmitll_merge_v3p0.add(gdstk.Label('J2 M6 M5', (5.15,26.35), layer=182, texttype=0))
thmitll_merge_v3p0.add(gdstk.Label('PB4 M6 M4', (5.45,18.25), layer=182, texttype=0))
thmitll_merge_v3p0.add(gdstk.Label('PB3 M6 M4', (15,31), layer=182, texttype=0))
thmitll_merge_v3p0.add(gdstk.Label('PB2 M6 M4', (27.7,45), layer=182, texttype=0))
thmitll_merge_v3p0.add(gdstk.Label('PB1 M6 M4', (2.25,45), layer=182, texttype=0))
thmitll_merge_v3p0.add(gdstk.Label('P1 M6 M4', (0,35), layer=182, texttype=0))
thmitll_merge_v3p0.add(gdstk.Label('P2 M6 M4', (30,35), layer=182, texttype=0))
thmitll_merge_v3p0.add(gdstk.Label('P3 M6 M4', (15,0), layer=182, texttype=0))
thmitll_merge_v3p0.add(gdstk.Label('b', (30,35.05), layer=182, texttype=0))
thmitll_merge_v3p0.add(gdstk.Label('a', (0,35.05), layer=182, texttype=0))
thmitll_merge_v3p0.add(gdstk.Label('q', (15,0), layer=182, texttype=0))
thmitll_merge_v3p0.add(gdstk.Label('RB1', (9.9,35), layer=52, texttype=11))
thmitll_merge_v3p0.add(gdstk.Label('RB4', (20.05,35.05), layer=52, texttype=11))
thmitll_merge_v3p0.add(gdstk.Label('RB7', (17.5,7.25), layer=52, texttype=11))
thmitll_merge_v3p0.add(gdstk.Label('RB6', (21.05,22.1), layer=52, texttype=11))
thmitll_merge_v3p0.add(gdstk.Label('RB5', (24.8,23.3), layer=52, texttype=11))
thmitll_merge_v3p0.add(gdstk.Label('RB3', (9,21.95), layer=52, texttype=11))
thmitll_merge_v3p0.add(gdstk.Label('RB2', (5.25,23.3), layer=52, texttype=11))
thmitll_merge_v3p0.add(gdstk.Label('RIB1', (6.75,44.95), layer=52, texttype=11))
thmitll_merge_v3p0.add(gdstk.Label('RIB2', (23.3,45.05), layer=52, texttype=11))
thmitll_merge_v3p0.add(gdstk.Label('RIB3', (14.95,34.55), layer=52, texttype=11))
thmitll_merge_v3p0.add(gdstk.Label('RIB4', (4.95,13.05), layer=52, texttype=11))
thmitll_merge_v3p0.add(gdstk.Label('q', (15,0), layer=60, texttype=5))
thmitll_merge_v3p0.add(gdstk.Label('a', (0,35), layer=60, texttype=5))
thmitll_merge_v3p0.add(gdstk.Label('b', (30,35), layer=60, texttype=5))

lib.write_gds('THmitll_MERGE_v3p0.gds')
